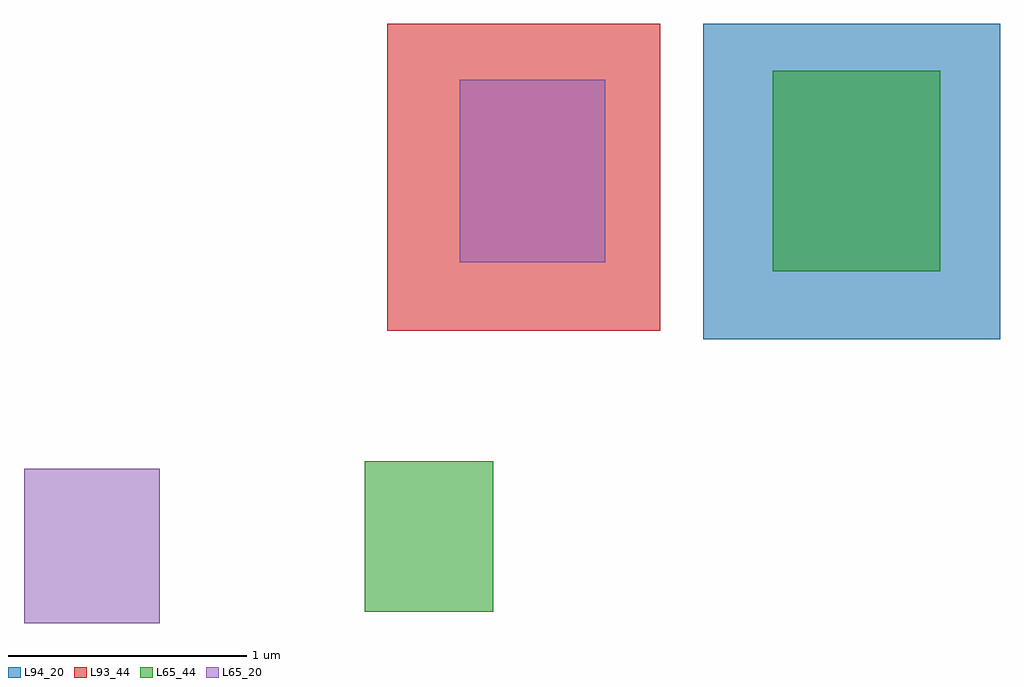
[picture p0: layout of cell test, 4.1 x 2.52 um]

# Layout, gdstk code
import gdstk
lib = gdstk.Library(unit=1e-6, precision=1e-09)
def R(c, l, rs):  # rectangles x0, y0, x1, y1
    for r in rs: c.add(gdstk.rectangle(r[:2], r[2:], *l))
L65_20 = (65, 20)
L65_44 = (65, 44)
L93_44 = (93, 44)
L94_20 = (94, 20)

test = lib.new_cell('test')
R(test, L65_20, [(-4.501,-0.065,-3.931,0.585), (-2.671,1.451,-2.061,2.217)])
R(test, L65_44, [(-3.071,-0.015,-2.531,0.615), (-1.357,1.413,-0.654,2.254)])
R(test, L93_44, [(-2.976,1.164,-1.831,2.453)])
R(test, L94_20, [(-1.65,1.128,-0.404,2.453)])

lib.write_gds('test.gds')
